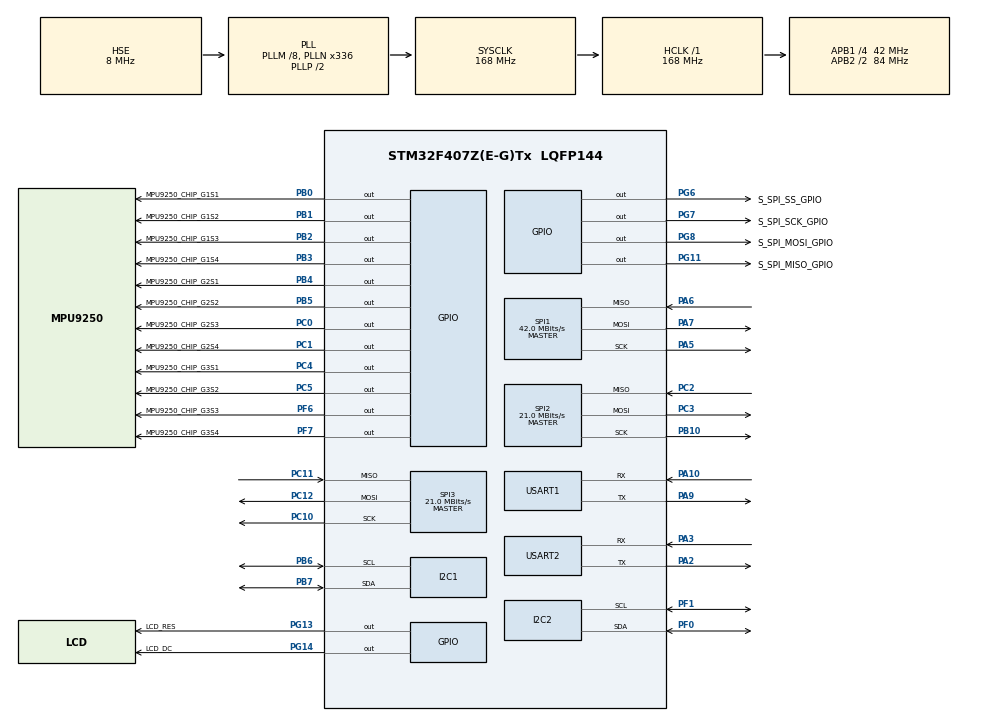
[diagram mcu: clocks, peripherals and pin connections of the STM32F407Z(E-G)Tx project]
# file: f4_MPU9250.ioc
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Dma.Request0=SPI1_RX
Dma.Request1=SPI1_TX
Dma.Request2=SPI2_RX
Dma.Request3=SPI2_TX
Dma.Request4=USART1_TX
Dma.Request5=USART1_RX
Dma.Request6=USART2_TX
Dma.Request7=USART2_RX
Dma.SPI1_RX.0.Direction=DMA_PERIPH_TO_MEMORY
Dma.SPI1_RX.0.FIFOMode=DMA_FIFOMODE_DISABLE
Dma.SPI1_RX.0.Instance=DMA2_Stream0
Dma.SPI1_RX.0.MemDataAlignment=DMA_MDATAALIGN_BYTE
Dma.SPI1_RX.0.MemInc=DMA_MINC_ENABLE
Dma.SPI1_RX.0.Mode=DMA_NORMAL
Dma.SPI1_RX.0.PeriphDataAlignment=DMA_PDATAALIGN_BYTE
Dma.SPI1_RX.0.PeriphInc=DMA_PINC_DISABLE
Dma.SPI1_RX.0.Priority=DMA_PRIORITY_LOW
Dma.SPI1_TX.1.Direction=DMA_MEMORY_TO_PERIPH
Dma.SPI1_TX.1.FIFOMode=DMA_FIFOMODE_DISABLE
Dma.SPI1_TX.1.Instance=DMA2_Stream3
Dma.SPI1_TX.1.MemDataAlignment=DMA_MDATAALIGN_BYTE
Dma.SPI1_TX.1.MemInc=DMA_MINC_ENABLE
Dma.SPI1_TX.1.Mode=DMA_NORMAL
Dma.SPI1_TX.1.PeriphDataAlignment=DMA_PDATAALIGN_BYTE
Dma.SPI1_TX.1.PeriphInc=DMA_PINC_DISABLE
Dma.SPI1_TX.1.Priority=DMA_PRIORITY_LOW
Dma.SPI2_RX.2.Direction=DMA_PERIPH_TO_MEMORY
Dma.SPI2_RX.2.FIFOMode=DMA_FIFOMODE_DISABLE
Dma.SPI2_RX.2.Instance=DMA1_Stream3
Dma.SPI2_RX.2.MemDataAlignment=DMA_MDATAALIGN_BYTE
Dma.SPI2_RX.2.MemInc=DMA_MINC_ENABLE
Dma.SPI2_RX.2.Mode=DMA_NORMAL
Dma.SPI2_RX.2.PeriphDataAlignment=DMA_PDATAALIGN_BYTE
Dma.SPI2_RX.2.PeriphInc=DMA_PINC_DISABLE
Dma.SPI2_RX.2.Priority=DMA_PRIORITY_LOW
Dma.SPI2_TX.3.Direction=DMA_MEMORY_TO_PERIPH
Dma.SPI2_TX.3.FIFOMode=DMA_FIFOMODE_DISABLE
Dma.SPI2_TX.3.Instance=DMA1_Stream4
Dma.SPI2_TX.3.MemDataAlignment=DMA_MDATAALIGN_BYTE
Dma.SPI2_TX.3.MemInc=DMA_MINC_ENABLE
Dma.SPI2_TX.3.Mode=DMA_NORMAL
Dma.SPI2_TX.3.PeriphDataAlignment=DMA_PDATAALIGN_BYTE
Dma.SPI2_TX.3.PeriphInc=DMA_PINC_DISABLE
Dma.SPI2_TX.3.Priority=DMA_PRIORITY_LOW
Dma.USART1_RX.5.Direction=DMA_PERIPH_TO_MEMORY
Dma.USART1_RX.5.FIFOMode=DMA_FIFOMODE_DISABLE
Dma.USART1_RX.5.Instance=DMA2_Stream2
Dma.USART1_RX.5.MemDataAlignment=DMA_MDATAALIGN_BYTE
Dma.USART1_RX.5.MemInc=DMA_MINC_ENABLE
Dma.USART1_RX.5.Mode=DMA_NORMAL
Dma.USART1_RX.5.PeriphDataAlignment=DMA_PDATAALIGN_BYTE
Dma.USART1_RX.5.PeriphInc=DMA_PINC_DISABLE
Dma.USART1_RX.5.Priority=DMA_PRIORITY_LOW
Dma.USART1_TX.4.Direction=DMA_MEMORY_TO_PERIPH
Dma.USART1_TX.4.FIFOMode=DMA_FIFOMODE_DISABLE
Dma.USART1_TX.4.Instance=DMA2_Stream7
Dma.USART1_TX.4.MemDataAlignment=DMA_MDATAALIGN_BYTE
Dma.USART1_TX.4.MemInc=DMA_MINC_ENABLE
Dma.USART1_TX.4.Mode=DMA_NORMAL
Dma.USART1_TX.4.PeriphDataAlignment=DMA_PDATAALIGN_BYTE
Dma.USART1_TX.4.PeriphInc=DMA_PINC_DISABLE
Dma.USART1_TX.4.Priority=DMA_PRIORITY_LOW
Dma.USART2_RX.7.Direction=DMA_PERIPH_TO_MEMORY
Dma.USART2_RX.7.FIFOMode=DMA_FIFOMODE_DISABLE
Dma.USART2_RX.7.Instance=DMA1_Stream5
Dma.USART2_RX.7.MemDataAlignment=DMA_MDATAALIGN_BYTE
Dma.USART2_RX.7.MemInc=DMA_MINC_ENABLE
Dma.USART2_RX.7.Mode=DMA_NORMAL
Dma.USART2_RX.7.PeriphDataAlignment=DMA_PDATAALIGN_BYTE
Dma.USART2_RX.7.PeriphInc=DMA_PINC_DISABLE
Dma.USART2_RX.7.Priority=DMA_PRIORITY_LOW
Dma.USART2_TX.6.Direction=DMA_MEMORY_TO_PERIPH
Dma.USART2_TX.6.FIFOMode=DMA_FIFOMODE_DISABLE
Dma.USART2_TX.6.Instance=DMA1_Stream6
Dma.USART2_TX.6.MemDataAlignment=DMA_MDATAALIGN_BYTE
Dma.USART2_TX.6.MemInc=DMA_MINC_ENABLE
Dma.USART2_TX.6.Mode=DMA_NORMAL
Dma.USART2_TX.6.PeriphDataAlignment=DMA_PDATAALIGN_BYTE
Dma.USART2_TX.6.PeriphInc=DMA_PINC_DISABLE
Dma.USART2_TX.6.Priority=DMA_PRIORITY_LOW
FREERTOS.BinarySemaphores01=samplingStartTask01,Dynamic,NULL,Available;samplingStartTask02,Dynamic,NULL,Available;samplingStartTask03,Dynamic,NULL,Available
FREERTOS.Events01=sensorSampleEvent,Dynamic,NULL
FREERTOS.Queues01=sensorGroupQueue01,1,SPI_SensorsGroup,0,Dynamic,NULL,NULL;sensorGroupQueue02,1,SPI_SensorsGroup,0,Dynamic,NULL,NULL;sensorGroupQueue03,1,SPI_SensorsGroup,0,Dynamic,NULL,NULL
FREERTOS.Tasks01=rSpi01MagTask,24,128,StartrSpi01MagTask,As weak,NULL,Dynamic,NULL,NULL;rSpi02MagTask,24,128,StartrSpi02MagTask,As weak,NULL,Dynamic,NULL,NULL;rSpi03MagTask,24,128,StartrSpi03MagTask,As weak,NULL,Dynamic,NULL,NULL;UsartTransTask,16,1024,StartUsartTransTask,As weak,NULL,Dynamic,NULL,NULL
FREERTOS.configGENERATE_RUN_TIME_STATS=1
FREERTOS.configLIBRARY_MAX_SYSCALL_INTERRUPT_PRIORITY=5
Mcu.Family=STM32F4
Mcu.Name=STM32F407Z(E-G)Tx
Mcu.Package=LQFP144
NVIC.DMA1_Stream3_IRQn=true\:5\:0\:false\:false\:true\:true\:false\:true\:true
NVIC.DMA1_Stream4_IRQn=true\:5\:0\:false\:false\:true\:true\:false\:true\:true
NVIC.DMA1_Stream5_IRQn=true\:5\:0\:false\:false\:true\:true\:false\:true\:true
NVIC.DMA1_Stream6_IRQn=true\:5\:0\:false\:false\:true\:true\:false\:true\:true
NVIC.DMA2_Stream0_IRQn=true\:5\:0\:false\:false\:true\:true\:false\:true\:true
NVIC.DMA2_Stream2_IRQn=true\:5\:0\:true\:false\:true\:true\:false\:true\:true
NVIC.DMA2_Stream3_IRQn=true\:5\:0\:false\:false\:true\:true\:false\:true\:true
NVIC.DMA2_Stream7_IRQn=true\:5\:0\:true\:false\:true\:true\:false\:true\:true
NVIC.FPU_IRQn=true\:5\:0\:false\:false\:true\:true\:true\:false\:true
NVIC.I2C1_ER_IRQn=true\:5\:0\:false\:false\:true\:true\:true\:true\:true
NVIC.I2C1_EV_IRQn=true\:5\:0\:false\:false\:true\:true\:true\:true\:true
NVIC.PriorityGroup=NVIC_PRIORITYGROUP_4
NVIC.TIM1_UP_TIM10_IRQn=true\:5\:0\:false\:false\:true\:true\:true\:true\:true
NVIC.TIM6_DAC_IRQn=true\:15\:0\:false\:false\:true\:false\:false\:true\:true
NVIC.TimeBase=TIM6_DAC_IRQn
NVIC.TimeBaseIP=TIM6
NVIC.USART1_IRQn=true\:5\:0\:true\:false\:true\:true\:true\:true\:true
NVIC.USART2_IRQn=true\:5\:0\:false\:false\:true\:true\:true\:true\:true
PA10.Mode=Asynchronous
PA10.Signal=USART1_RX
PA13.Mode=Serial_Wire
PA13.Signal=SYS_JTMS-SWDIO
PA14.Mode=Serial_Wire
PA14.Signal=SYS_JTCK-SWCLK
PA2.Mode=Asynchronous
PA2.Signal=USART2_TX
PA3.Mode=Asynchronous
PA3.Signal=USART2_RX
PA5.Mode=Full_Duplex_Master
PA5.Signal=SPI1_SCK
PA6.Mode=Full_Duplex_Master
PA6.Signal=SPI1_MISO
PA7.Mode=Full_Duplex_Master
PA7.Signal=SPI1_MOSI
PA9.Mode=Asynchronous
PA9.Signal=USART1_TX
PB0.GPIO_Label=MPU9250_CHIP_G1S1
PB0.Signal=GPIO_Output
PB1.GPIO_Label=MPU9250_CHIP_G1S2
PB1.Signal=GPIO_Output
PB10.Mode=Full_Duplex_Master
PB10.Signal=SPI2_SCK
PB2.GPIO_Label=MPU9250_CHIP_G1S3
PB2.Signal=GPIO_Output
PB3.GPIO_Label=MPU9250_CHIP_G1S4
PB3.Signal=GPIO_Output
PB4.GPIO_Label=MPU9250_CHIP_G2S1
PB4.Signal=GPIO_Output
PB5.GPIO_Label=MPU9250_CHIP_G2S2
PB5.Signal=GPIO_Output
PB6.GPIO_Pu=GPIO_PULLUP
PB6.Mode=I2C
PB6.Signal=I2C1_SCL
PB7.GPIO_Pu=GPIO_PULLUP
PB7.Mode=I2C
PB7.Signal=I2C1_SDA
PC0.GPIO_Label=MPU9250_CHIP_G2S3
PC0.Signal=GPIO_Output
PC1.GPIO_Label=MPU9250_CHIP_G2S4
PC1.Signal=GPIO_Output
PC10.Mode=Full_Duplex_Master
PC10.Signal=SPI3_SCK
PC11.Mode=Full_Duplex_Master
PC11.Signal=SPI3_MISO
PC12.Mode=Full_Duplex_Master
PC12.Signal=SPI3_MOSI
PC14-OSC32_IN.Mode=LSE-External-Oscillator
PC14-OSC32_IN.Signal=RCC_OSC32_IN
PC15-OSC32_OUT.Mode=LSE-External-Oscillator
PC15-OSC32_OUT.Signal=RCC_OSC32_OUT
PC2.Mode=Full_Duplex_Master
PC2.Signal=SPI2_MISO
PC3.Mode=Full_Duplex_Master
PC3.Signal=SPI2_MOSI
PC4.GPIO_Label=MPU9250_CHIP_G3S1
PC4.Signal=GPIO_Output
PC5.GPIO_Label=MPU9250_CHIP_G3S2
PC5.Signal=GPIO_Output
PF0.Mode=I2C
PF0.Signal=I2C2_SDA
PF1.Mode=I2C
PF1.Signal=I2C2_SCL
PF6.GPIO_Label=MPU9250_CHIP_G3S3
PF6.Signal=GPIO_Output
PF7.GPIO_Label=MPU9250_CHIP_G3S4
PF7.Signal=GPIO_Output
PG11.GPIO_Label=S_SPI_MISO_GPIO
PG11.Signal=GPIO_Output
PG13.GPIO_Label=LCD_RES
PG13.Signal=GPIO_Output
PG14.GPIO_Label=LCD_DC
PG14.Signal=GPIO_Output
PG6.GPIO_Label=S_SPI_SS_GPIO
PG6.Signal=GPIO_Output
PG7.GPIO_Label=S_SPI_SCK_GPIO
PG7.Signal=GPIO_Output
PG8.GPIO_Label=S_SPI_MOSI_GPIO
PG8.Signal=GPIO_Output
PH0-OSC_IN.Mode=HSE-External-Oscillator
PH0-OSC_IN.Signal=RCC_OSC_IN
PH1-OSC_OUT.Mode=HSE-External-Oscillator
PH1-OSC_OUT.Signal=RCC_OSC_OUT
ProjectManager.HeapSize=0x200
ProjectManager.StackSize=0x400
ProjectManager.TargetToolchain=STM32CubeIDE
RCC.48MHZClocksFreq_Value=84000000
RCC.AHBFreq_Value=168000000
RCC.APB1CLKDivider=RCC_HCLK_DIV4
RCC.APB1Freq_Value=42000000
RCC.APB1TimFreq_Value=84000000
RCC.APB2CLKDivider=RCC_HCLK_DIV2
RCC.APB2Freq_Value=84000000
RCC.APB2TimFreq_Value=168000000
RCC.CortexFreq_Value=168000000
RCC.HCLKFreq_Value=168000000
RCC.HSE_VALUE=8000000
RCC.HSI_VALUE=16000000
RCC.PLLM=8
RCC.PLLN=336
RCC.PLLSourceVirtual=RCC_PLLSOURCE_HSE
RCC.SYSCLKFreq_VALUE=168000000
RCC.SYSCLKSource=RCC_SYSCLKSOURCE_PLLCLK
RCC.VCOOutputFreq_Value=336000000
SPI1.BaudRatePrescaler=SPI_BAUDRATEPRESCALER_2
SPI1.CalculateBaudRate=42.0 MBits/s
SPI1.Direction=SPI_DIRECTION_2LINES
SPI1.Mode=SPI_MODE_MASTER
SPI1.VirtualType=VM_MASTER
SPI2.BaudRatePrescaler=SPI_BAUDRATEPRESCALER_2
SPI2.CalculateBaudRate=21.0 MBits/s
SPI2.Direction=SPI_DIRECTION_2LINES
SPI2.Mode=SPI_MODE_MASTER
SPI2.VirtualType=VM_MASTER
SPI3.CalculateBaudRate=21.0 MBits/s
SPI3.Direction=SPI_DIRECTION_2LINES
SPI3.Mode=SPI_MODE_MASTER
SPI3.VirtualType=VM_MASTER
TIM1.Period=99
TIM1.Prescaler=8399
USART1.VirtualMode=VM_ASYNC
USART2.VirtualMode=VM_ASYNC
VP_FREERTOS_VS_CMSIS_V2.Mode=CMSIS_V2
VP_SYS_VS_tim6.Mode=TIM6
VP_TIM1_VS_ClockSourceINT.Mode=Internal
board=custom

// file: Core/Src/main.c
/* USER CODE BEGIN Header */
/**
  ******************************************************************************
  * @file           : main.c
  * @brief          : Main program body
  ******************************************************************************
  * @attention
  *
  * Copyright (c) 2025 STMicroelectronics.
  * All rights reserved.
  *
  * This software is licensed under terms that can be found in the LICENSE file
  * in the root directory of this software component.
  * If no LICENSE file comes with this software, it is provided AS-IS.
  *
  ******************************************************************************
  */
/* USER CODE END Header */
#include "main.h"
#include "cmsis_os.h"
#include "dma.h"
#include "i2c.h"
#include "spi.h"
#include "tim.h"
#include "usart.h"
#include "gpio.h"

/* USER CODE BEGIN Includes */
#include <string.h>
#include "MPU9250.h"
#include <stdio.h>
#include <stdarg.h>
#include <string.h>

#include "semphr.h"
/* USER CODE END Includes */

/* USER CODE BEGIN PD */
#define APP_LED_BLINK_INTERVAL_MS 125U

/* USER CODE END PD */

/* USER CODE BEGIN PV */
uint8_t ak8963_WhoAmI = 0;
uint8_t mpu9250_WhoAmI = 0;

MPU9250 mpu_instance_1;
MPU9250 *mpu_1 = &mpu_instance_1;

MPU9250 mpu_instance_2;
MPU9250 *mpu_2 = &mpu_instance_2;

MPU9250 mpu_instance_3;
MPU9250 *mpu_3 = &mpu_instance_3;

SPI_SensorsGroup spi_sensorsgroup_instance_1;
SPI_SensorsGroup *spi_sensorsgroup_1 = &spi_sensorsgroup_instance_1;

SPI_SensorsGroup spi_sensorsgroup_instance_2;
SPI_SensorsGroup *spi_sensorsgroup_2 = &spi_sensorsgroup_instance_2;

SPI_SensorsGroup spi_sensorsgroup_instance_3;
SPI_SensorsGroup *spi_sensorsgroup_3 = &spi_sensorsgroup_instance_3;

uint8_t sensorsnum = 4;

SPI_HandleTypeDef *ghspix_arr_1[4];
GPIO_TypeDef *gcs_port_arr_1[4];
uint16_t gcs_pin_arr_1[4];

SPI_HandleTypeDef *ghspix_arr_2[4];
GPIO_TypeDef *gcs_port_arr_2[4];
uint16_t gcs_pin_arr_2[4];

SPI_HandleTypeDef *ghspix_arr_3[4];
GPIO_TypeDef *gcs_port_arr_3[4];
uint16_t gcs_pin_arr_3[4];

SPI_HandleTypeDef **ghspix_1 = ghspix_arr_1;
GPIO_TypeDef **gcs_port_1 = gcs_port_arr_1;
uint16_t *gcs_pin_1 = gcs_pin_arr_1;

SPI_HandleTypeDef **ghspix_2 = ghspix_arr_2;
GPIO_TypeDef **gcs_port_2 = gcs_port_arr_2;
uint16_t *gcs_pin_2 = gcs_pin_arr_2;

SPI_HandleTypeDef **ghspix_3 = ghspix_arr_3;
GPIO_TypeDef **gcs_port_3 = gcs_port_arr_3;
uint16_t *gcs_pin_3 = gcs_pin_arr_3;

static volatile AppLedState g_appLedState = APP_LED_STATE_INIT_BLINK;
static volatile uint8_t g_appLedInitialized = 0U;
static volatile uint8_t g_appLedBlinkOn = 0U;
static volatile uint32_t g_appLedLastToggleTick = 0U;

/* USER CODE END PV */

void SystemClock_Config(void);
void MX_FREERTOS_Init(void);

/* USER CODE BEGIN 0 */
static void AppLed_Apply(uint8_t led0_on, uint8_t led1_on) {
  if (g_appLedInitialized == 0U) {
    return;
  }

  HAL_GPIO_WritePin(LED0_GPIO_Port, LED0_Pin, led0_on != 0U ? GPIO_PIN_RESET : GPIO_PIN_SET);
  HAL_GPIO_WritePin(LED1_GPIO_Port, LED1_Pin, led1_on != 0U ? GPIO_PIN_RESET : GPIO_PIN_SET);
}

static void AppLed_ApplyState(void) {
  switch (g_appLedState) {
    case APP_LED_STATE_INIT_BLINK:
      AppLed_Apply(g_appLedBlinkOn, 0U);
      break;
    case APP_LED_STATE_AUTO_ZERO_BLINK:
      AppLed_Apply(g_appLedBlinkOn, g_appLedBlinkOn);
      break;
    case APP_LED_STATE_READY_ON:
    default:
      AppLed_Apply(1U, 1U);
      break;
  }
}

void AppLed_Init(void) {
  g_appLedInitialized = 1U;
  g_appLedBlinkOn = 1U;
  g_appLedLastToggleTick = HAL_GetTick();
  AppLed_SetState(APP_LED_STATE_INIT_BLINK);
}

void AppLed_SetState(AppLedState state) {
  if (g_appLedState == state) {
    AppLed_ApplyState();
    return;
  }

  g_appLedState = state;
  if (state == APP_LED_STATE_READY_ON) {
    AppLed_ApplyState();
    return;
  }

  g_appLedBlinkOn = 1U;
  g_appLedLastToggleTick = HAL_GetTick();
  AppLed_ApplyState();
}

void AppLed_UpdateFromTick(void) {
  uint32_t tick = HAL_GetTick();

  if (g_appLedInitialized == 0U) {
    return;
  }

  if (g_appLedState == APP_LED_STATE_READY_ON) {
    AppLed_ApplyState();
    return;
  }

  if ((tick - g_appLedLastToggleTick) < APP_LED_BLINK_INTERVAL_MS) {
    return;
  }

  g_appLedLastToggleTick = tick;
  g_appLedBlinkOn = (g_appLedBlinkOn == 0U) ? 1U : 0U;
  AppLed_ApplyState();
}

/* USER CODE END 0 */

int main(void)
{

  /* MCU Configuration--------------------------------------------------------*/

  /* Reset of all peripherals, Initializes the Flash interface and the Systick. */
  HAL_Init();

  /* Configure the system clock */
  SystemClock_Config();

  /* Initialize all configured peripherals */
  MX_GPIO_Init();
  AppLed_Init();
  MX_DMA_Init();
  MX_USART1_UART_Init();
  MX_I2C1_Init();
  MX_I2C2_Init();
  MX_SPI1_Init();
  MX_SPI2_Init();
  MX_TIM1_Init();
  MX_SPI3_Init();
  MX_USART2_UART_Init();
  /* USER CODE BEGIN 2 */
  for (uint8_t index=0;index<sensorsnum;index++) {
    switch (index) {
      case 0:
        ghspix_arr_1[index] = &hspi1;
        gcs_port_arr_1[index] = MPU9250_CHIP_G1S1_GPIO_Port;
        gcs_pin_arr_1[index] = MPU9250_CHIP_G1S1_Pin;

        ghspix_arr_2[index] = &hspi2;
        gcs_port_arr_2[index] = MPU9250_CHIP_G2S1_GPIO_Port;
        gcs_pin_arr_2[index] = MPU9250_CHIP_G2S1_Pin;

        ghspix_arr_3[index] = &hspi3;
        gcs_port_arr_3[index] = MPU9250_CHIP_G3S1_GPIO_Port;
        gcs_pin_arr_3[index] = MPU9250_CHIP_G3S1_Pin;
        break;
      case 1:
        ghspix_arr_1[index] = &hspi1;
        gcs_port_arr_1[index] = MPU9250_CHIP_G1S2_GPIO_Port;
        gcs_pin_arr_1[index] = MPU9250_CHIP_G1S2_Pin;

        ghspix_arr_2[index] = &hspi2;
        gcs_port_arr_2[index] = MPU9250_CHIP_G2S2_GPIO_Port;
        gcs_pin_arr_2[index] = MPU9250_CHIP_G2S2_Pin;

        ghspix_arr_3[index] = &hspi3;
        gcs_port_arr_3[index] = MPU9250_CHIP_G3S2_GPIO_Port;
        gcs_pin_arr_3[index] = MPU9250_CHIP_G3S2_Pin;
        break;
      case 2:
        ghspix_arr_1[index] = &hspi1;
        gcs_port_arr_1[index] = MPU9250_CHIP_G1S3_GPIO_Port;
        gcs_pin_arr_1[index] = MPU9250_CHIP_G1S3_Pin;

        ghspix_arr_2[index] = &hspi2;
        gcs_port_arr_2[index] = MPU9250_CHIP_G2S3_GPIO_Port;
        gcs_pin_arr_2[index] = MPU9250_CHIP_G2S3_Pin;

        ghspix_arr_3[index] = &hspi3;
        gcs_port_arr_3[index] = MPU9250_CHIP_G3S3_GPIO_Port;
        gcs_pin_arr_3[index] = MPU9250_CHIP_G3S3_Pin;
        break;
      case 3:
        ghspix_arr_1[index] = &hspi1;
        gcs_port_arr_1[index] = MPU9250_CHIP_G1S4_GPIO_Port;
        gcs_pin_arr_1[index] = MPU9250_CHIP_G1S4_Pin;

        ghspix_arr_2[index] = &hspi2;
        gcs_port_arr_2[index] = MPU9250_CHIP_G2S4_GPIO_Port;
        gcs_pin_arr_2[index] = MPU9250_CHIP_G2S4_Pin;

        ghspix_arr_3[index] = &hspi3;
        gcs_port_arr_3[index] = MPU9250_CHIP_G3S4_GPIO_Port;
        gcs_pin_arr_3[index] = MPU9250_CHIP_G3S4_Pin;
        break;
    }
  }

  SensorGroup_StructInit(spi_sensorsgroup_1, sensorsnum, ghspix_1, gcs_port_1, gcs_pin_1);
  SensorGroup_StructInit(spi_sensorsgroup_2, sensorsnum, ghspix_2, gcs_port_2, gcs_pin_2);
  SensorGroup_StructInit(spi_sensorsgroup_3, sensorsnum, ghspix_3, gcs_port_3, gcs_pin_3);

  spi_sensorsgroup_1->base_sensor_id = 0;
  spi_sensorsgroup_2->base_sensor_id = 4;
  spi_sensorsgroup_3->base_sensor_id = 8;

  HAL_Delay(500);

  for (uint8_t init_retry = 0; init_retry < 3; init_retry++) {
    uint8_t init_status = 0;
    init_status |= SensorGroup_Init(spi_sensorsgroup_1);
    init_status |= SensorGroup_Init(spi_sensorsgroup_2);
    init_status |= SensorGroup_Init(spi_sensorsgroup_3);
    if (init_status == 0) {
      break;
    }
    HAL_Delay(20);
  }

  /* USER CODE END 2 */

  /* Init scheduler */
  osKernelInitialize();

  /* Call init function for freertos objects (in cmsis_os2.c) */
  MX_FREERTOS_Init();

  /* Start scheduler */
  osKernelStart();

  /* We should never get here as control is now taken by the scheduler */

  /* Infinite loop */
  while (1)
  {

    /* USER CODE BEGIN 3 */
    SensorGroup_ReadMag(spi_sensorsgroup_1);
    SensorGroup_ReadMag(spi_sensorsgroup_2);
    SensorGroup_ReadMag(spi_sensorsgroup_3);
    HAL_Delay(100);

  }
  /* USER CODE END 3 */
}

void SystemClock_Config(void)
{
  RCC_OscInitTypeDef RCC_OscInitStruct = {0};
  RCC_ClkInitTypeDef RCC_ClkInitStruct = {0};

  /** Configure the main internal regulator output voltage
  */
  __HAL_RCC_PWR_CLK_ENABLE();
  __HAL_PWR_VOLTAGESCALING_CONFIG(PWR_REGULATOR_VOLTAGE_SCALE1);

  /** Initializes the RCC Oscillators according to the specified parameters
  * in the RCC_OscInitTypeDef structure.
  */
  RCC_OscInitStruct.OscillatorType = RCC_OSCILLATORTYPE_HSE;
  RCC_OscInitStruct.HSEState = RCC_HSE_ON;
  RCC_OscInitStruct.PLL.PLLState = RCC_PLL_ON;
  RCC_OscInitStruct.PLL.PLLSource = RCC_PLLSOURCE_HSE;
  RCC_OscInitStruct.PLL.PLLM = 8;
  RCC_OscInitStruct.PLL.PLLN = 336;
  RCC_OscInitStruct.PLL.PLLP = RCC_PLLP_DIV2;
  RCC_OscInitStruct.PLL.PLLQ = 4;
  if (HAL_RCC_OscConfig(&RCC_OscInitStruct) != HAL_OK)
  {
    Error_Handler();
  }

  /** Initializes the CPU, AHB and APB buses clocks
  */
  RCC_ClkInitStruct.ClockType = RCC_CLOCKTYPE_HCLK|RCC_CLOCKTYPE_SYSCLK
                              |RCC_CLOCKTYPE_PCLK1|RCC_CLOCKTYPE_PCLK2;
  RCC_ClkInitStruct.SYSCLKSource = RCC_SYSCLKSOURCE_PLLCLK;
  RCC_ClkInitStruct.AHBCLKDivider = RCC_SYSCLK_DIV1;
  RCC_ClkInitStruct.APB1CLKDivider = RCC_HCLK_DIV4;
  RCC_ClkInitStruct.APB2CLKDivider = RCC_HCLK_DIV2;

  if (HAL_RCC_ClockConfig(&RCC_ClkInitStruct, FLASH_LATENCY_5) != HAL_OK)
  {
    Error_Handler();
  }
}

void HAL_TIM_PeriodElapsedCallback(TIM_HandleTypeDef *htim)
{
  if (htim->Instance == TIM6) {
    HAL_IncTick();
    AppLed_UpdateFromTick();
  }
  /* USER CODE BEGIN Callback 1 */
  if (htim->Instance == TIM1) {
    BaseType_t highTaskWoken = pdFALSE;
    if (samplingStartTask01Handle != NULL) {
      xSemaphoreGiveFromISR(samplingStartTask01Handle, &highTaskWoken);
    }
    if (samplingStartTask02Handle != NULL) {
      xSemaphoreGiveFromISR(samplingStartTask02Handle, &highTaskWoken);
    }
    if (samplingStartTask03Handle != NULL) {
      xSemaphoreGiveFromISR(samplingStartTask03Handle, &highTaskWoken);
    }
    portYIELD_FROM_ISR(highTaskWoken);
  }
  /* USER CODE END Callback 1 */
}

void Error_Handler(void)
{
  __disable_irq();
  while (1)
  {
  }
}

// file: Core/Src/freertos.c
/* USER CODE BEGIN Header */
/**
  ******************************************************************************
  * File Name          : freertos.c
  * Description        : Code for freertos applications
  ******************************************************************************
  * @attention
  *
  * Copyright (c) 2025 STMicroelectronics.
  * All rights reserved.
  *
  * This software is licensed under terms that can be found in the LICENSE file
  * in the root directory of this software component.
  * If no LICENSE file comes with this software, it is provided AS-IS.
  *
  *NOTE: Write the variables that need to be called in other .c files into
  *      "FreeRTOSVariables.h" and prefix them with the extern flag.
  ******************************************************************************
  */
/* USER CODE END Header */

#include "FreeRTOS.h"
#include "task.h"
#include "main.h"
#include "cmsis_os.h"

/* USER CODE BEGIN Includes */
#include "semphr.h"

/* USER CODE END Includes */

/* USER CODE BEGIN Variables */
EventGroupHandle_t xSensorEventGroup;
/* USER CODE END Variables */
/* Definitions for rSpi01MagTask */
osThreadId_t rSpi01MagTaskHandle;
const osThreadAttr_t rSpi01MagTask_attributes = {
  .name = "rSpi01MagTask",
  .stack_size = 128 * 4,
  .priority = (osPriority_t) osPriorityNormal,
};
/* Definitions for rSpi02MagTask */
osThreadId_t rSpi02MagTaskHandle;
const osThreadAttr_t rSpi02MagTask_attributes = {
  .name = "rSpi02MagTask",
  .stack_size = 128 * 4,
  .priority = (osPriority_t) osPriorityNormal,
};
/* Definitions for rSpi03MagTask */
osThreadId_t rSpi03MagTaskHandle;
const osThreadAttr_t rSpi03MagTask_attributes = {
  .name = "rSpi03MagTask",
  .stack_size = 128 * 4,
  .priority = (osPriority_t) osPriorityNormal,
};
/* Definitions for UsartTransTask */
osThreadId_t UsartTransTaskHandle;
const osThreadAttr_t UsartTransTask_attributes = {
  .name = "UsartTransTask",
  .stack_size = 2048 * 4,
  .priority = (osPriority_t) osPriorityAboveNormal,
};
/* Definitions for sensorGroupQueue01 */
osMessageQueueId_t sensorGroupQueue01Handle;
const osMessageQueueAttr_t sensorGroupQueue01_attributes = {
  .name = "sensorGroupQueue01"
};
/* Definitions for sensorGroupQueue02 */
osMessageQueueId_t sensorGroupQueue02Handle;
const osMessageQueueAttr_t sensorGroupQueue02_attributes = {
  .name = "sensorGroupQueue02"
};
/* Definitions for sensorGroupQueue03 */
osMessageQueueId_t sensorGroupQueue03Handle;
const osMessageQueueAttr_t sensorGroupQueue03_attributes = {
  .name = "sensorGroupQueue03"
};
/* Definitions for samplingStartTask01 */
osSemaphoreId_t samplingStartTask01Handle;
const osSemaphoreAttr_t samplingStartTask01_attributes = {
  .name = "samplingStartTask01"
};
/* Definitions for samplingStartTask02 */
osSemaphoreId_t samplingStartTask02Handle;
const osSemaphoreAttr_t samplingStartTask02_attributes = {
  .name = "samplingStartTask02"
};
/* Definitions for samplingStartTask03 */
osSemaphoreId_t samplingStartTask03Handle;
const osSemaphoreAttr_t samplingStartTask03_attributes = {
  .name = "samplingStartTask03"
};
/* Definitions for sensorSampleEvent */
osEventFlagsId_t sensorSampleEventHandle;
const osEventFlagsAttr_t sensorSampleEvent_attributes = {
  .name = "sensorSampleEvent"
};

void StartrSpi01MagTask(void *argument);
void StartrSpi02MagTask(void *argument);
void StartrSpi03MagTask(void *argument);
void StartUsartTransTask(void *argument);

void MX_FREERTOS_Init(void); /* (MISRA C 2004 rule 8.1) */

/* Hook prototypes */
void configureTimerForRunTimeStats(void);
unsigned long getRunTimeCounterValue(void);

/* USER CODE BEGIN 1 */
/* Functions needed when configGENERATE_RUN_TIME_STATS is on */
__weak void configureTimerForRunTimeStats(void)
{

}

__weak unsigned long getRunTimeCounterValue(void)
{
return 0;
}
/* USER CODE END 1 */

void MX_FREERTOS_Init(void) {

  /* Create the semaphores(s) */
  /* creation of samplingStartTask01 */
  samplingStartTask01Handle = osSemaphoreNew(1, 0, &samplingStartTask01_attributes);

  /* creation of samplingStartTask02 */
  samplingStartTask02Handle = osSemaphoreNew(1, 0, &samplingStartTask02_attributes);

  /* creation of samplingStartTask03 */
  samplingStartTask03Handle = osSemaphoreNew(1, 0, &samplingStartTask03_attributes);

  /* Create the queue(s) */
  /* creation of sensorGroupQueue01 */
  sensorGroupQueue01Handle = osMessageQueueNew (1, sizeof(SPI_SensorsGroup*), &sensorGroupQueue01_attributes);

  /* creation of sensorGroupQueue02 */
  sensorGroupQueue02Handle = osMessageQueueNew (1, sizeof(SPI_SensorsGroup*), &sensorGroupQueue02_attributes);

  /* creation of sensorGroupQueue03 */
  sensorGroupQueue03Handle = osMessageQueueNew (1, sizeof(SPI_SensorsGroup*), &sensorGroupQueue03_attributes);

  /* Create the thread(s) */
  /* creation of rSpi01MagTask */
  rSpi01MagTaskHandle = osThreadNew(StartrSpi01MagTask, NULL, &rSpi01MagTask_attributes);

  /* creation of rSpi02MagTask */
  rSpi02MagTaskHandle = osThreadNew(StartrSpi02MagTask, NULL, &rSpi02MagTask_attributes);

  /* creation of rSpi03MagTask */
  rSpi03MagTaskHandle = osThreadNew(StartrSpi03MagTask, NULL, &rSpi03MagTask_attributes);

  /* creation of UsartTransTask */
  UsartTransTaskHandle = osThreadNew(StartUsartTransTask, NULL, &UsartTransTask_attributes);

  /* Create the event(s) */
  /* creation of sensorSampleEvent */
  sensorSampleEventHandle = osEventFlagsNew(&sensorSampleEvent_attributes);

  /* USER CODE BEGIN RTOS_EVENTS */
  xSensorEventGroup = xEventGroupCreate();
  /* add events, ... */
  /* USER CODE END RTOS_EVENTS */

}

__weak void StartrSpi01MagTask(void *argument)
{
  for(;;)
  {
  }
}

__weak void StartrSpi02MagTask(void *argument)
{
  for(;;)
  {
  }
}

__weak void StartrSpi03MagTask(void *argument)
{
  for(;;)
  {
  }
}

__weak void StartUsartTransTask(void *argument)
{
  for(;;)
  {
    osDelay(1);
  }
}
